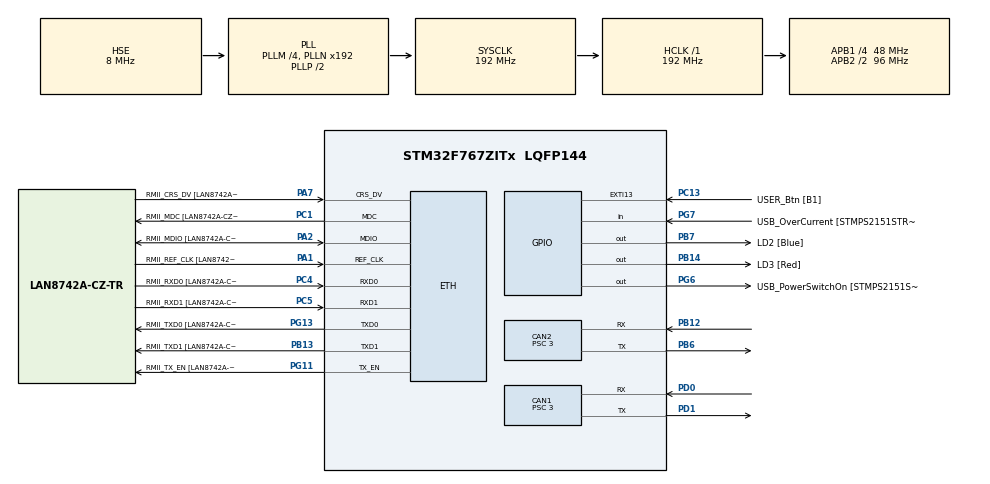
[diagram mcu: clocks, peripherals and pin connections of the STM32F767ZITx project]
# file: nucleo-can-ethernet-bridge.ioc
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CAN1.BS1=CAN_BS1_13TQ
CAN1.BS2=CAN_BS2_2TQ
CAN1.CalculateTimeQuantum=62.5
CAN1.Prescaler=3
CAN1.TXFP=ENABLE
CAN2.BS1=CAN_BS1_13TQ
CAN2.BS2=CAN_BS2_2TQ
CAN2.CalculateTimeQuantum=62.5
CAN2.Prescaler=3
CAN2.TXFP=ENABLE
ETH.ChecksumMode=ETH_CHECKSUM_BY_HARDWARE
ETH.MediaInterface=ETH_MEDIA_INTERFACE_RMII
ETH.PHY_Name=LAN8742A_PHY_ADDRESS
ETH.PHY_Value=0
ETH.PhyAddress=0
LWIP.GATEWAY_ADDRESS=192.168.000.001
LWIP.IP_ADDRESS=192.168.000.002
LWIP.LWIP_DHCP=0
LWIP.LWIP_TCP=0
LWIP.MEMP_NUM_PBUF=32
LWIP.MEMP_NUM_RAW_PCB=32
LWIP.MEMP_NUM_TCP_PCB=0
LWIP.MEMP_NUM_UDP_PCB=11
LWIP.MEM_SIZE=6400
LWIP.NETMASK_ADDRESS=255.255.255.000
LWIP.PBUF_POOL_BUFSIZE=1024
LWIP.PBUF_POOL_SIZE=32
LWIP.Version=v2.0.3_Cube
Mcu.Family=STM32F7
Mcu.Name=STM32F767ZITx
Mcu.Package=LQFP144
NVIC.CAN1_RX0_IRQn=true\:0\:0\:false\:false\:true\:true\:true
NVIC.CAN1_RX1_IRQn=true\:0\:0\:false\:false\:true\:true\:true
NVIC.CAN1_TX_IRQn=true\:0\:0\:false\:false\:true\:true\:true
NVIC.CAN2_RX0_IRQn=true\:0\:0\:false\:false\:true\:true\:true
NVIC.CAN2_RX1_IRQn=true\:0\:0\:false\:false\:true\:true\:true
NVIC.CAN2_TX_IRQn=true\:0\:0\:false\:false\:true\:true\:true
NVIC.PriorityGroup=NVIC_PRIORITYGROUP_4
NVIC.TIM1_UP_TIM10_IRQn=true\:0\:0\:false\:false\:true\:false\:true
NVIC.TimeBase=TIM1_UP_TIM10_IRQn
NVIC.TimeBaseIP=TIM10
PA1.GPIO_Label=RMII_REF_CLK [LAN8742A-CZ-TR_REFCLK0]
PA1.Mode=RMII
PA1.Signal=ETH_REF_CLK
PA10.GPIO_Label=USB_ID
PA10.Signal=USB_OTG_FS_ID
PA11.GPIO_Label=USB_DM
PA11.Signal=USB_OTG_FS_DM
PA12.GPIO_Label=USB_DP
PA12.Signal=USB_OTG_FS_DP
PA13.GPIO_Label=TMS
PA13.Mode=Serial_Wire
PA13.Signal=SYS_JTMS-SWDIO
PA14.GPIO_Label=TCK
PA14.Mode=Serial_Wire
PA14.Signal=SYS_JTCK-SWCLK
PA2.GPIO_Label=RMII_MDIO [LAN8742A-CZ-TR_MDIO]
PA2.Mode=RMII
PA2.Signal=ETH_MDIO
PA7.GPIO_Label=RMII_CRS_DV [LAN8742A-CZ-TR_CRS_DV]
PA7.Mode=RMII
PA7.Signal=ETH_CRS_DV
PA8.GPIO_Label=USB_SOF [TP1]
PA8.Signal=USB_OTG_FS_SOF
PA9.GPIO_Label=USB_VBUS
PA9.Signal=USB_OTG_FS_VBUS
PB12.GPIO_PuPd=GPIO_PULLUP
PB12.Mode=Slave
PB12.Signal=CAN2_RX
PB13.GPIO_Label=RMII_TXD1 [LAN8742A-CZ-TR_TXD1]
PB13.Mode=RMII
PB13.Signal=ETH_TXD1
PB14.GPIO_Label=LD3 [Red]
PB14.Signal=GPIO_Output
PB3.GPIO_Label=SWO
PB3.Signal=SYS_JTDO-SWO
PB6.GPIO_PuPd=GPIO_PULLUP
PB6.Mode=Slave
PB6.Signal=CAN2_TX
PB7.GPIO_Label=LD2 [Blue]
PB7.Signal=GPIO_Output
PC1.GPIO_Label=RMII_MDC [LAN8742A-CZ-TR_MDC]
PC1.Mode=RMII
PC1.Signal=ETH_MDC
PC13.GPIO_Label=USER_Btn [B1]
PC13.Signal=GPXTI13
PC14/OSC32_IN.Mode=LSE-External-Oscillator
PC14/OSC32_IN.Signal=RCC_OSC32_IN
PC15/OSC32_OUT.Mode=LSE-External-Oscillator
PC15/OSC32_OUT.Signal=RCC_OSC32_OUT
PC4.GPIO_Label=RMII_RXD0 [LAN8742A-CZ-TR_RXD0]
PC4.Mode=RMII
PC4.Signal=ETH_RXD0
PC5.GPIO_Label=RMII_RXD1 [LAN8742A-CZ-TR_RXD1]
PC5.Mode=RMII
PC5.Signal=ETH_RXD1
PD0.GPIO_PuPd=GPIO_PULLUP
PD0.Mode=Master
PD0.Signal=CAN1_RX
PD1.GPIO_PuPd=GPIO_PULLUP
PD1.Mode=Master
PD1.Signal=CAN1_TX
PD8.GPIO_Label=STLK_RX [STM32F103CBT6_PA3]
PD8.Signal=USART3_TX
PD9.GPIO_Label=STLK_TX [STM32F103CBT6_PA2]
PD9.Signal=USART3_RX
PG11.GPIO_Label=RMII_TX_EN [LAN8742A-CZ-TR_TXEN]
PG11.Mode=RMII
PG11.Signal=ETH_TX_EN
PG13.GPIO_Label=RMII_TXD0 [LAN8742A-CZ-TR_TXD0]
PG13.Mode=RMII
PG13.Signal=ETH_TXD0
PG6.GPIO_Label=USB_PowerSwitchOn [STMPS2151STR_EN]
PG6.Signal=GPIO_Output
PG7.GPIO_Label=USB_OverCurrent [STMPS2151STR_FAULT]
PG7.Signal=GPIO_Input
PH0/OSC_IN.GPIO_Label=MCO [STM32F103CBT6_PA8]
PH0/OSC_IN.Mode=HSE-External-Oscillator
PH0/OSC_IN.Signal=RCC_OSC_IN
PH1/OSC_OUT.Mode=HSE-External-Oscillator
PH1/OSC_OUT.Signal=RCC_OSC_OUT
ProjectManager.HeapSize=0x200
ProjectManager.StackSize=0x400
ProjectManager.TargetToolchain=STM32CubeIDE
RCC.48MHZClocksFreq_Value=24000000
RCC.AHBFreq_Value=192000000
RCC.APB1CLKDivider=RCC_HCLK_DIV4
RCC.APB1Freq_Value=48000000
RCC.APB1TimFreq_Value=96000000
RCC.APB2CLKDivider=RCC_HCLK_DIV2
RCC.APB2Freq_Value=96000000
RCC.APB2TimFreq_Value=192000000
RCC.CortexFreq_Value=192000000
RCC.HCLKFreq_Value=192000000
RCC.HSE_VALUE=8000000
RCC.HSI_VALUE=16000000
RCC.PLLM=4
RCC.PLLMUL=RCC_PLL_MUL9
RCC.PLLQ=8
RCC.PLLSourceVirtual=RCC_PLLSOURCE_HSE
RCC.PRESCALERUSB=RCC_USBCLKSOURCE_PLL_DIV1_5
RCC.SYSCLKFreq_VALUE=192000000
RCC.SYSCLKSource=RCC_SYSCLKSOURCE_PLLCLK
RCC.SYSCLKSourceVirtual=RCC_SYSCLKSOURCE_PLLCLK
RCC.USBFreq_Value=48000000
RCC.VCOOutputFreq_Value=384000000
VP_LWIP_VS_Enabled.Mode=Enabled
VP_SYS_VS_tim10.Mode=TIM10
board=NUCLEO-F767ZI

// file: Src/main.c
/* USER CODE BEGIN Header */
/**
  ******************************************************************************
  * @file           : main.c
  * @brief          : Main program body
  ******************************************************************************
  * @attention
  *
  * <h2><center>&copy; Copyright (c) 2019 STMicroelectronics.
  * All rights reserved.</center></h2>
  *
  * This software component is licensed by ST under BSD 3-Clause license,
  * the "License"; You may not use this file except in compliance with the
  * License. You may obtain a copy of the License at:
  *                        opensource.org/licenses/BSD-3-Clause
  *
  ******************************************************************************
  */
/* USER CODE END Header */

#include "main.h"
#include "lwip.h"

/* USER CODE BEGIN Includes */
#include "string.h"
#include "robomaster_s1.h"

/* USER CODE END Includes */

CAN_HandleTypeDef hcan1;
CAN_HandleTypeDef hcan2;

/* USER CODE BEGIN PV */
CAN_TxHeaderTypeDef TxHeader1;
CAN_RxHeaderTypeDef RxHeader1;
uint8_t TxData1[8];
uint8_t RxData1[8];
uint32_t TxMailbox1;
uint32_t RxMailbox1;
CAN_TxHeaderTypeDef TxHeader2;
CAN_RxHeaderTypeDef RxHeader2;
uint8_t TxData2[8];
uint8_t RxData2[8];
uint32_t TxMailbox2;
uint32_t RxMailbox2;

volatile CANRxMsg rx_msg_buffer1[BUFFER_SIZE];
volatile int buffer_rp1;
volatile int buffer_wp1;
volatile CANRxMsg rx_msg_buffer2[BUFFER_SIZE];
volatile int buffer_rp2;
volatile int buffer_wp2;

volatile uint8_t can_command_buffer[BUFFER_SIZE];
volatile int can_command_buffer_rp;
volatile int can_command_buffer_wp;

extern twist command_twist;

/* USER CODE END PV */

void SystemClock_Config(void);
static void MX_GPIO_Init(void);
static void MX_CAN1_Init(void);
static void MX_CAN2_Init(void);
/* USER CODE BEGIN PFP */
static void CAN_FilterConfig(void);
extern void UdpSendData(uint8_t id, uint8_t* send_data, uint8_t send_data_size);
extern void StartUdp(uint8_t* ip_addr);
extern int parseCanData(uint8_t id, uint8_t* in_data, uint8_t in_data_size, uint8_t out_data[], uint8_t* out_data_size);
/* USER CODE END PFP */

int main(void)
{

  /* MCU Configuration--------------------------------------------------------*/

  /* Reset of all peripherals, Initializes the Flash interface and the Systick. */
  HAL_Init();

  /* Configure the system clock */
  SystemClock_Config();

  /* Initialize all configured peripherals */
  MX_GPIO_Init();
  MX_LWIP_Init();
  MX_CAN1_Init();
  MX_CAN2_Init();
  /* USER CODE BEGIN 2 */

    /* Configure the CAN peripheral */
    CAN_FilterConfig();

    /*## Start the CAN peripheral ###########################################*/
    if (HAL_CAN_Start(&hcan1) != HAL_OK)
    {
        /* Start Error */
        Error_Handler();
    }

    if (HAL_CAN_Start(&hcan2) != HAL_OK)
    {
        /* Start Error */
        Error_Handler();
    }

    /*## Activate CAN RX notification #######################################*/
    if (HAL_CAN_ActivateNotification(&hcan1, CAN_IT_RX_FIFO0_MSG_PENDING) != HAL_OK)
    {
        /* Notification Error */
        Error_Handler();
    }

    if (HAL_CAN_ActivateNotification(&hcan2, CAN_IT_RX_FIFO1_MSG_PENDING) != HAL_OK)
    {
        /* Notification Error */
        Error_Handler();
    }

    if (HAL_CAN_ActivateNotification(&hcan1, CAN_IT_RX_FIFO0_FULL) != HAL_OK)
    {
        /* Notification Error */
        Error_Handler();
    }

    if (HAL_CAN_ActivateNotification(&hcan2, CAN_IT_RX_FIFO1_FULL) != HAL_OK)
    {
        /* Notification Error */
        Error_Handler();
    }

  /* USER CODE END 2 */

  /* Infinite loop */
  /* USER CODE BEGIN WHILE */
    buffer_rp1 = 0;
    buffer_wp1 = 0;
    buffer_rp2 = 0;
    buffer_wp2 = 0;
    can_command_buffer_rp = 0;
    can_command_buffer_wp = 0;

    uint8_t send_ip_addr[] = {192,168,0,255};
    StartUdp(send_ip_addr);

    CANRxMsg msg;
    uint8_t send_data[255];
    uint8_t send_data_size = 0;
    int i = 0;
    int ret =0;
    uint64_t test_counter=0;
    while (1)
    {
        MX_LWIP_Process();

    	// 0x201 Intelligent Controller Command
        if (buffer_rp1 != buffer_wp1)
        {
            msg = rx_msg_buffer1[buffer_rp1];
            ret = parseCanData(msg.can_id, msg.data, msg.dlc, send_data, &send_data_size);
            buffer_rp1++;
            buffer_rp1 %= BUFFER_SIZE;
            if(ret)
            {
            	if(send_data[1] == 0x1B){
            		// Linear X and Y
            		//send_data[11] = 0;
            		//send_data[12] = 4;
            		//send_data[13] = 32;
            		uint16_t linear_x = 256 * command_twist.linear.x + 1024;
            		uint16_t linear_y = 256 * command_twist.linear.y + 1024;

            		//data_x = (data[13]&0x1F)<<5 + data[12]>>3;
            		//data_y = (data[12]&0x07)<<8 + data[11];

            		send_data[13] &= 0xC0;
            		send_data[13] |= (linear_x >> 5) & 0x3F;
            		send_data[12] = 0x00;
            		send_data[12] |= linear_x << 3;
            		send_data[12] |= (linear_y >> 8) & 0x07;
            		send_data[11] = 0x00;
            		send_data[11] |= linear_y&0xFF;
            		send_data[22] = 0x04;
            		send_data[send_data_size - 2] = 0;
            		send_data[send_data_size - 1] = 0;
            		appendCRC16CheckSum(send_data,send_data_size);
            		test_counter++;

            	}

            	// Smartphone touch event override
        		if(send_data[0] == 0x55 &&
        				send_data[1] == 0x0F &&
						send_data[2] == 0x04 &&
						send_data[3] == 0xA2 &&
						send_data[4] == 0x09 &&
						send_data[11] == 0x02){
        			send_data[11] = 0;
        			// Recalcuration CRC16
        			send_data[send_data_size-2] = 0;
        			send_data[send_data_size-1] = 0;
            		appendCRC16CheckSum(send_data,send_data_size);
        		}
                //UdpSendData(msg.can_id, send_data, send_data_size);
                for(i=0;i<send_data_size;i++){
                	can_command_buffer[can_command_buffer_wp] = send_data[i];
                	can_command_buffer_wp++;
                	can_command_buffer_wp %= BUFFER_SIZE;
                }
            }
        }

        // others
        if (buffer_rp2 != buffer_wp2)
        {
            msg = rx_msg_buffer2[buffer_rp2];
            ret = parseCanData(msg.can_id, msg.data, msg.dlc, send_data, &send_data_size);
            buffer_rp2++;
            buffer_rp2 %= BUFFER_SIZE;
            if(ret)
            {
                //UdpSendData(msg.can_id, send_data, send_data_size);
            }
        }

        // Transmit CAN Command
        if (can_command_buffer_rp != can_command_buffer_wp)
        {
        	int can_command_buffer_size = (can_command_buffer_wp - can_command_buffer_rp + BUFFER_SIZE) % BUFFER_SIZE;
        	if(can_command_buffer_size >= 8){
    			TxHeader2.DLC = 8;
        	}else{
				TxHeader2.DLC = can_command_buffer_size;
        	}
			TxHeader2.StdId = RxHeader1.StdId;
			TxHeader2.ExtId = RxHeader1.ExtId;
			TxHeader2.RTR = CAN_RTR_DATA;
			TxHeader2.IDE = CAN_ID_STD;
			TxHeader2.TransmitGlobalTime = DISABLE;
			for(i=0;i<TxHeader2.DLC;i++){
				TxData2[i] = can_command_buffer[(can_command_buffer_rp+i)%BUFFER_SIZE];
			}
        	/* Start Transmission process */
        	int ret = HAL_CAN_AddTxMessage(&hcan2, &TxHeader2, TxData2, &TxMailbox2);
        	if (ret == HAL_OK){
        		can_command_buffer_rp += TxHeader2.DLC;
        		can_command_buffer_rp %= BUFFER_SIZE;
        	}
        }

    /* USER CODE END WHILE */

    }
}

void SystemClock_Config(void)
{
  RCC_OscInitTypeDef RCC_OscInitStruct = {0};
  RCC_ClkInitTypeDef RCC_ClkInitStruct = {0};

  /** Configure LSE Drive Capability
  */
  HAL_PWR_EnableBkUpAccess();
  /** Configure the main internal regulator output voltage
  */
  __HAL_RCC_PWR_CLK_ENABLE();
  __HAL_PWR_VOLTAGESCALING_CONFIG(PWR_REGULATOR_VOLTAGE_SCALE1);
  /** Initializes the CPU, AHB and APB busses clocks
  */
  RCC_OscInitStruct.OscillatorType = RCC_OSCILLATORTYPE_HSE;
  RCC_OscInitStruct.HSEState = RCC_HSE_ON;
  RCC_OscInitStruct.PLL.PLLState = RCC_PLL_ON;
  RCC_OscInitStruct.PLL.PLLSource = RCC_PLLSOURCE_HSE;
  RCC_OscInitStruct.PLL.PLLM = 4;
  RCC_OscInitStruct.PLL.PLLN = 192;
  RCC_OscInitStruct.PLL.PLLP = RCC_PLLP_DIV2;
  RCC_OscInitStruct.PLL.PLLQ = 8;
  if (HAL_RCC_OscConfig(&RCC_OscInitStruct) != HAL_OK)
  {
    Error_Handler();
  }
  /** Activate the Over-Drive mode
  */
  if (HAL_PWREx_EnableOverDrive() != HAL_OK)
  {
    Error_Handler();
  }
  /** Initializes the CPU, AHB and APB busses clocks
  */
  RCC_ClkInitStruct.ClockType = RCC_CLOCKTYPE_HCLK|RCC_CLOCKTYPE_SYSCLK
                              |RCC_CLOCKTYPE_PCLK1|RCC_CLOCKTYPE_PCLK2;
  RCC_ClkInitStruct.SYSCLKSource = RCC_SYSCLKSOURCE_PLLCLK;
  RCC_ClkInitStruct.AHBCLKDivider = RCC_SYSCLK_DIV1;
  RCC_ClkInitStruct.APB1CLKDivider = RCC_HCLK_DIV4;
  RCC_ClkInitStruct.APB2CLKDivider = RCC_HCLK_DIV2;

  if (HAL_RCC_ClockConfig(&RCC_ClkInitStruct, FLASH_LATENCY_6) != HAL_OK)
  {
    Error_Handler();
  }
}

static void MX_CAN1_Init(void)
{

  hcan1.Instance = CAN1;
  hcan1.Init.Prescaler = 3;
  hcan1.Init.Mode = CAN_MODE_NORMAL;
  hcan1.Init.SyncJumpWidth = CAN_SJW_1TQ;
  hcan1.Init.TimeSeg1 = CAN_BS1_13TQ;
  hcan1.Init.TimeSeg2 = CAN_BS2_2TQ;
  hcan1.Init.TimeTriggeredMode = DISABLE;
  hcan1.Init.AutoBusOff = DISABLE;
  hcan1.Init.AutoWakeUp = DISABLE;
  hcan1.Init.AutoRetransmission = DISABLE;
  hcan1.Init.ReceiveFifoLocked = DISABLE;
  hcan1.Init.TransmitFifoPriority = ENABLE;
  if (HAL_CAN_Init(&hcan1) != HAL_OK)
  {
    Error_Handler();
  }

}

static void MX_CAN2_Init(void)
{

  hcan2.Instance = CAN2;
  hcan2.Init.Prescaler = 3;
  hcan2.Init.Mode = CAN_MODE_NORMAL;
  hcan2.Init.SyncJumpWidth = CAN_SJW_1TQ;
  hcan2.Init.TimeSeg1 = CAN_BS1_13TQ;
  hcan2.Init.TimeSeg2 = CAN_BS2_2TQ;
  hcan2.Init.TimeTriggeredMode = DISABLE;
  hcan2.Init.AutoBusOff = DISABLE;
  hcan2.Init.AutoWakeUp = DISABLE;
  hcan2.Init.AutoRetransmission = DISABLE;
  hcan2.Init.ReceiveFifoLocked = DISABLE;
  hcan2.Init.TransmitFifoPriority = ENABLE;
  if (HAL_CAN_Init(&hcan2) != HAL_OK)
  {
    Error_Handler();
  }

}

static void MX_GPIO_Init(void)
{
  GPIO_InitTypeDef GPIO_InitStruct = {0};

  /* GPIO Ports Clock Enable */
  __HAL_RCC_GPIOC_CLK_ENABLE();
  __HAL_RCC_GPIOH_CLK_ENABLE();
  __HAL_RCC_GPIOA_CLK_ENABLE();
  __HAL_RCC_GPIOB_CLK_ENABLE();
  __HAL_RCC_GPIOD_CLK_ENABLE();
  __HAL_RCC_GPIOG_CLK_ENABLE();

  /*Configure GPIO pin Output Level */
  HAL_GPIO_WritePin(GPIOB, LD3_Pin|LD2_Pin, GPIO_PIN_RESET);

  /*Configure GPIO pin Output Level */
  HAL_GPIO_WritePin(USB_PowerSwitchOn_GPIO_Port, USB_PowerSwitchOn_Pin, GPIO_PIN_RESET);

  /*Configure GPIO pin : USER_Btn_Pin */
  GPIO_InitStruct.Pin = USER_Btn_Pin;
  GPIO_InitStruct.Mode = GPIO_MODE_IT_RISING;
  GPIO_InitStruct.Pull = GPIO_NOPULL;
  HAL_GPIO_Init(USER_Btn_GPIO_Port, &GPIO_InitStruct);

  /*Configure GPIO pins : LD3_Pin LD2_Pin */
  GPIO_InitStruct.Pin = LD3_Pin|LD2_Pin;
  GPIO_InitStruct.Mode = GPIO_MODE_OUTPUT_PP;
  GPIO_InitStruct.Pull = GPIO_NOPULL;
  GPIO_InitStruct.Speed = GPIO_SPEED_FREQ_LOW;
  HAL_GPIO_Init(GPIOB, &GPIO_InitStruct);

  /*Configure GPIO pins : STLK_RX_Pin STLK_TX_Pin */
  GPIO_InitStruct.Pin = STLK_RX_Pin|STLK_TX_Pin;
  GPIO_InitStruct.Mode = GPIO_MODE_AF_PP;
  GPIO_InitStruct.Pull = GPIO_NOPULL;
  GPIO_InitStruct.Speed = GPIO_SPEED_FREQ_VERY_HIGH;
  GPIO_InitStruct.Alternate = GPIO_AF7_USART3;
  HAL_GPIO_Init(GPIOD, &GPIO_InitStruct);

  /*Configure GPIO pin : USB_PowerSwitchOn_Pin */
  GPIO_InitStruct.Pin = USB_PowerSwitchOn_Pin;
  GPIO_InitStruct.Mode = GPIO_MODE_OUTPUT_PP;
  GPIO_InitStruct.Pull = GPIO_NOPULL;
  GPIO_InitStruct.Speed = GPIO_SPEED_FREQ_LOW;
  HAL_GPIO_Init(USB_PowerSwitchOn_GPIO_Port, &GPIO_InitStruct);

  /*Configure GPIO pin : USB_OverCurrent_Pin */
  GPIO_InitStruct.Pin = USB_OverCurrent_Pin;
  GPIO_InitStruct.Mode = GPIO_MODE_INPUT;
  GPIO_InitStruct.Pull = GPIO_NOPULL;
  HAL_GPIO_Init(USB_OverCurrent_GPIO_Port, &GPIO_InitStruct);

  /*Configure GPIO pins : USB_SOF_Pin USB_ID_Pin USB_DM_Pin USB_DP_Pin */
  GPIO_InitStruct.Pin = USB_SOF_Pin|USB_ID_Pin|USB_DM_Pin|USB_DP_Pin;
  GPIO_InitStruct.Mode = GPIO_MODE_AF_PP;
  GPIO_InitStruct.Pull = GPIO_NOPULL;
  GPIO_InitStruct.Speed = GPIO_SPEED_FREQ_VERY_HIGH;
  GPIO_InitStruct.Alternate = GPIO_AF10_OTG_FS;
  HAL_GPIO_Init(GPIOA, &GPIO_InitStruct);

  /*Configure GPIO pin : USB_VBUS_Pin */
  GPIO_InitStruct.Pin = USB_VBUS_Pin;
  GPIO_InitStruct.Mode = GPIO_MODE_INPUT;
  GPIO_InitStruct.Pull = GPIO_NOPULL;
  HAL_GPIO_Init(USB_VBUS_GPIO_Port, &GPIO_InitStruct);

}

/* USER CODE BEGIN 4 */

/**
  * @brief  Configures the CAN.
  * @param  None
  * @retval None
  */
static void CAN_FilterConfig(void)
{
    CAN_FilterTypeDef sFilterConfig1;
    CAN_FilterTypeDef sFilterConfig2;

    /*## Configure the CAN Filter ###########################################*/
    sFilterConfig1.FilterBank = 0; //ID 0-13 for CAN1, 14+ is CAN2
    sFilterConfig1.FilterMode = CAN_FILTERMODE_IDMASK;
    sFilterConfig1.FilterScale = CAN_FILTERSCALE_32BIT;
    sFilterConfig1.FilterIdHigh = 0x0000;
    sFilterConfig1.FilterIdLow = 0x0000;
    sFilterConfig1.FilterMaskIdHigh = 0x0000;
    sFilterConfig1.FilterMaskIdLow = 0x0000;
    sFilterConfig1.FilterFIFOAssignment = CAN_RX_FIFO0;
    sFilterConfig1.FilterActivation = ENABLE;
    sFilterConfig1.SlaveStartFilterBank = 14;

    if (HAL_CAN_ConfigFilter(&hcan1, &sFilterConfig1) != HAL_OK)
    {
        /* Filter configuration Error */
        Error_Handler();
    }

    sFilterConfig2.FilterBank = 14; //ID 0-13 for CAN1, 14+ is CAN2
    sFilterConfig2.FilterMode = CAN_FILTERMODE_IDMASK;
    sFilterConfig2.FilterScale = CAN_FILTERSCALE_32BIT;
    sFilterConfig2.FilterIdHigh = 0x0000;
    sFilterConfig2.FilterIdLow = 0x0000;
    sFilterConfig2.FilterMaskIdHigh = 0x0000;
    sFilterConfig2.FilterMaskIdLow = 0x0000;
    sFilterConfig2.FilterFIFOAssignment = CAN_RX_FIFO1;
    sFilterConfig2.FilterActivation = ENABLE;
    sFilterConfig2.SlaveStartFilterBank = 14;

    if (HAL_CAN_ConfigFilter(&hcan2, &sFilterConfig2) != HAL_OK)
    {
        /* Filter configuration Error */
        Error_Handler();
    }
}

/**
  * @brief  Rx Fifo 0 message pending callback
  * @param  hcan: pointer to a CAN_HandleTypeDef structure that contains
  *         the configuration information for the specified CAN.
  * @retval None
  */
void HAL_CAN_RxFifo0MsgPendingCallback(CAN_HandleTypeDef *hcan)
{
    /* Get RX message */
    if (HAL_CAN_GetRxMessage(hcan, CAN_RX_FIFO0, &RxHeader1, RxData1) == HAL_OK)
    {
        if (RxHeader1.StdId == 0x201)
        {
//            TxHeader2.StdId = RxHeader1.StdId;
//            TxHeader2.ExtId = RxHeader1.ExtId;
//            TxHeader2.RTR = CAN_RTR_DATA;
//            TxHeader2.IDE = CAN_ID_STD;
//            TxHeader2.DLC = RxHeader1.DLC;
//            TxHeader2.TransmitGlobalTime = DISABLE;
//            memcpy(TxData2, RxData1, RxHeader1.DLC);

            /* Start Transmission process */
            //int ret = HAL_CAN_AddTxMessage(&hcan2, &TxHeader2, TxData2, &TxMailbox2);
//            while (ret != HAL_OK)
//            {
//            	ret = HAL_CAN_AddTxMessage(&hcan2, &TxHeader2, TxData2, &TxMailbox2);
//            }
			CANRxMsg msg;
			msg.can_id = ID_0x201;
			msg.dlc = RxHeader1.DLC;
			memcpy(msg.data, RxData1, RxHeader1.DLC);
			rx_msg_buffer1[buffer_wp1] = msg;
			buffer_wp1++;
			buffer_wp1 %= BUFFER_SIZE;
        }
    }
}

void HAL_CAN_RxFifo0FullCallback(CAN_HandleTypeDef *hcan)
{
    /* Get RX message */
    if (HAL_CAN_GetRxMessage(hcan, CAN_RX_FIFO0, &RxHeader1, RxData1) == HAL_OK)
    {
        if (RxHeader1.StdId == 0x201)
        {
//            TxHeader2.StdId = RxHeader1.StdId;
//            TxHeader2.ExtId = RxHeader1.ExtId;
//            TxHeader2.RTR = CAN_RTR_DATA;
//            TxHeader2.IDE = CAN_ID_STD;
//            TxHeader2.DLC = RxHeader1.DLC;
//            TxHeader2.TransmitGlobalTime = DISABLE;
//            memcpy(TxData2, RxData1, RxHeader1.DLC);

            /* Start Transmission process */
            //int ret = HAL_CAN_AddTxMessage(&hcan2, &TxHeader2, TxData2, &TxMailbox2);
            //            while (ret != HAL_OK)
            //            {
            //            	ret = HAL_CAN_AddTxMessage(&hcan2, &TxHeader2, TxData2, &TxMailbox2);
            //            }
			CANRxMsg msg;
			msg.can_id = ID_0x201;
			msg.dlc = RxHeader1.DLC;
			memcpy(msg.data, RxData1, RxHeader1.DLC);
			rx_msg_buffer1[buffer_wp1] = msg;
			buffer_wp1++;
			buffer_wp1 %= BUFFER_SIZE;
        }
    }
}

/**
  * @brief  Rx Fifo 1 message pending callback
  * @param  hcan: pointer to a CAN_HandleTypeDef structure that contains
  *         the configuration information for the specified CAN.
  * @retval None
  */
void HAL_CAN_RxFifo1MsgPendingCallback(CAN_HandleTypeDef *hcan)
{
    /* Get RX message */
    if (HAL_CAN_GetRxMessage(hcan, CAN_RX_FIFO1, &RxHeader2, RxData2) == HAL_OK)
    {
        if (RxHeader2.StdId != 0x201)
        {
            TxHeader1.StdId = RxHeader2.StdId;
            TxHeader1.ExtId = RxHeader2.ExtId;
            TxHeader1.RTR = CAN_RTR_DATA;
            TxHeader1.IDE = CAN_ID_STD;
            TxHeader1.DLC = RxHeader2.DLC;
            TxHeader1.TransmitGlobalTime = DISABLE;
            memcpy(TxData1, RxData2, RxHeader2.DLC);

            /* Start Transmission process */
            int ret = HAL_CAN_AddTxMessage(&hcan1, &TxHeader1, TxData1, &TxMailbox1);
//                        while (ret != HAL_OK)
//                        {
//                        	ret = HAL_CAN_AddTxMessage(&hcan1, &TxHeader1, TxData1, &TxMailbox1);
//                        }

            CANRxMsg msg;
            switch (RxHeader2.StdId)
            {
            case 0x202:
                msg.can_id = ID_0x202;
                break;
            case 0x203:
                msg.can_id = ID_0x203;
                break;
            case 0x204:
                msg.can_id = ID_0x204;
                break;
            case 0x211:
                msg.can_id = ID_0x211;
                break;
            case 0x212:
                msg.can_id = ID_0x212;
                break;
            case 0x213:
                msg.can_id = ID_0x213;
                break;
            case 0x214:
                msg.can_id = ID_0x214;
                break;
            case 0x215:
                msg.can_id = ID_0x215;
                break;
            case 0x216:
                msg.can_id = ID_0x216;
                break;
            }
            msg.dlc = RxHeader2.DLC;
            memcpy(msg.data, RxData2, RxHeader2.DLC);
            rx_msg_buffer2[buffer_wp2] = msg;
            buffer_wp2++;
            buffer_wp2 %= BUFFER_SIZE;
        }
    }
}

void HAL_CAN_RxFifo1FullCallback(CAN_HandleTypeDef *hcan)
{
    /* Get RX message */
    if (HAL_CAN_GetRxMessage(hcan, CAN_RX_FIFO1, &RxHeader2, RxData2) == HAL_OK)
    {
        if (RxHeader2.StdId != 0x201)
        {
            TxHeader1.StdId = RxHeader2.StdId;
            TxHeader1.ExtId = RxHeader2.ExtId;
            TxHeader1.RTR = CAN_RTR_DATA;
            TxHeader1.IDE = CAN_ID_STD;
            TxHeader1.DLC = RxHeader2.DLC;
            TxHeader1.TransmitGlobalTime = DISABLE;
            memcpy(TxData1, RxData2, RxHeader2.DLC);

            /* Start Transmission process */
            int ret = HAL_CAN_AddTxMessage(&hcan1, &TxHeader1, TxData1, &TxMailbox1);
//                        while (ret != HAL_OK)
//                        {
//                        	ret = HAL_CAN_AddTxMessage(&hcan1, &TxHeader1, TxData1, &TxMailbox1);
//                        }

            CANRxMsg msg;
            switch (RxHeader2.StdId)
            {
            case 0x202:
                msg.can_id = ID_0x202;
                break;
            case 0x203:
                msg.can_id = ID_0x203;
                break;
            case 0x204:
                msg.can_id = ID_0x204;
                break;
            case 0x211:
                msg.can_id = ID_0x211;
                break;
            case 0x212:
                msg.can_id = ID_0x212;
                break;
            case 0x213:
                msg.can_id = ID_0x213;
                break;
            case 0x214:
                msg.can_id = ID_0x214;
                break;
            case 0x215:
                msg.can_id = ID_0x215;
                break;
            case 0x216:
                msg.can_id = ID_0x216;
                break;
            }
            msg.dlc = RxHeader2.DLC;
            memcpy(msg.data, RxData2, RxHeader2.DLC);
            rx_msg_buffer2[buffer_wp2] = msg;
            buffer_wp2++;
            buffer_wp2 %= BUFFER_SIZE;
        }
    }
}

/* USER CODE END 4 */

void HAL_TIM_PeriodElapsedCallback(TIM_HandleTypeDef *htim)
{
  if (htim->Instance == TIM10) {
    HAL_IncTick();
  }
}

void Error_Handler(void)
{
}

/************************ (C) COPYRIGHT STMicroelectronics *****END OF FILE****/
